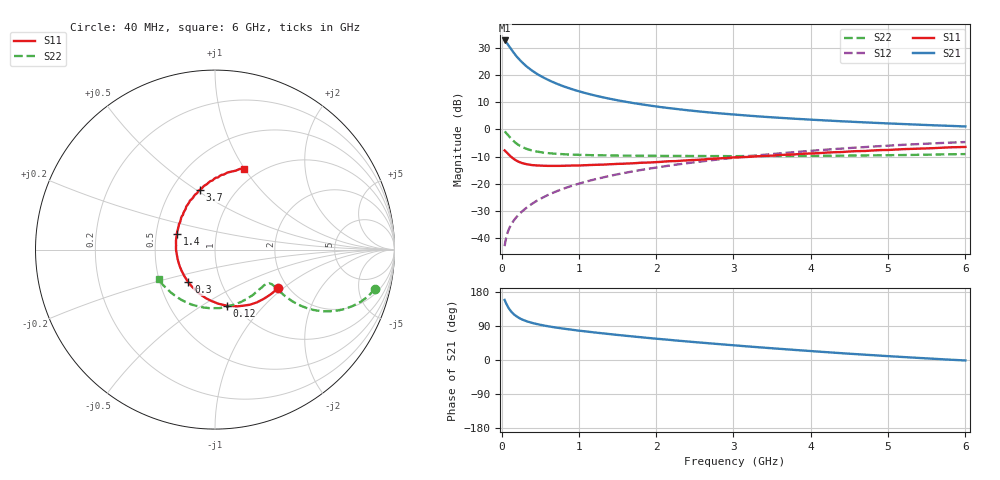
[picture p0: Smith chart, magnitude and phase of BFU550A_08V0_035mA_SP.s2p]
! Filename:  P:\Prog\Test\Noise\ATS_data\Testdata_Net\03 Spar\BFU550A_APG2013_35_C05_08p0V_035mA_SP_CM01_D.s2p
! Date/Time: Tue 16/Apr/2013 15:10:19
! BFU550A_APG2013_35_C05_08p0V_1to35mA_SP_CM01_Bias8_R.s2p
! MDIF S-parameter v. bias file
! BFU550A_APG2013_35_C05_08p0V_1to35mA_SP_CM01
! Date/time Mon Apr 15 16:50:27 2013
! VAR V_out= 8.0000
! VAR I_out= 35.0000
! VAR V_in= 0.7890
! VAR I_in= 0.3649
! Device data file deembeded for feedlines and parallel
! Original file: \03 Spar\BFU550A_APG2013_35_C05_08p0V_035mA_SP_CM01_R.s2p
! Feed-files: PR017V01_150413_Feed1.s2p, PR017V01_150413_Feed2.s2p
! Parallel-file: PR017V01_150413_Par.s2p
# MHz S MA R 50
!  Freq-MHz  S11-mag  S11-arg  S21-mag  S21-arg  S12-mag  S12-arg  S22-mag  S22-arg
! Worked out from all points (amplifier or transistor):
!   98 points, 40 MHz to 6 GHz, reference 50 ohm
!   highest |S21| = 32.7 dB at 40 MHz (marker M1)
!   |S21| within 3 dB of that: start of sweep to 120.1 MHz
!   unconditionally stable (mu >= 1): 777.3 MHz to 1.638 GHz
!   at 300 MHz: K = 0.87, MSG = 26.5 dB, |S12| = -29.3 dB
!   at 1.6 GHz: K = 1.00, MAG = 12.8 dB, |S12| = -15.9 dB
!   at 6 GHz: K = 0.89, MSG = 2.9 dB, |S12| = -4.6 dB
!   S11 on the Smith chart (normalised r, x): 40 MHz: 1.79, -0.92; 120 MHz: 0.92, -0.64; 300 MHz: 0.70, -0.27; 1.4 GHz: 0.64, +0.12; 3.7 GHz: 0.69, +0.52; 6 GHz: 0.85, +0.99
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40  0.4128 -31.2  42.92 158.6  0.007227 80.8  0.9175 -13.7
60  0.3863 -45.1  39.78 149.2  0.01029 76.9  0.8615 -19.7
80  0.3631 -57.8  36.6 141.4  0.01297 74.4  0.801 -24.2
100  0.3399 -68.4  33.33 134.8  0.01535 72.8  0.7429 -27.5
120  0.3187 -78.4  30.4 129.2  0.0175 71.8  0.6904 -29.9
140  0.3019 -86.5  27.72 124.6  0.01952 71.4  0.6445 -31.5
160  0.2867 -94.1  25.32 120.7  0.02152 71.2  0.6058 -32.5
200  0.2645 -106.8  21.48 114.4  0.02527 71.4  0.5438 -33.5
240  0.2494 -116.9  18.61 109.6  0.02892 72.1  0.4996 -33.7
300  0.2348 -129.2  15.39 104.1  0.03444 73.1  0.4543 -33.3
360  0.2263 -138.5  13.09 100.0  0.04001 73.9  0.4243 -32.8
440  0.22 -148.7  10.89 95.7  0.04751 74.7  0.3979 -32.0
600  0.2148 -163.3  8.154 89.1  0.0627 75.5  0.3682 -31.4
800  0.2155 -176.2  6.207 82.9  0.08186 75.6  0.3516 -32.4
1050  0.2198 171.3  4.792 76.3  0.1061 74.9  0.3408 -34.9
1400  0.23 157.7  3.659 68.3  0.1404 73.1  0.3335 -40.1
2050  0.2539 138.5  2.584 55.3  0.2049 68.4  0.3278 -52.4
3100  0.3096 114.8  1.835 37.2  0.3128 59.3  0.3245 -75.9
3700  0.3447 104.0  1.603 28.0  0.3748 53.4  0.3262 -90.6
4100  0.3675 97.0  1.486 22.1  0.4157 49.1  0.3287 -101.2
5200  0.4355 80.7  1.256 7.8  0.5233 36.7  0.3393 -129.9
6000  0.4776 70.4  1.135 -1.2  0.5874 27.2  0.353 -152.1
